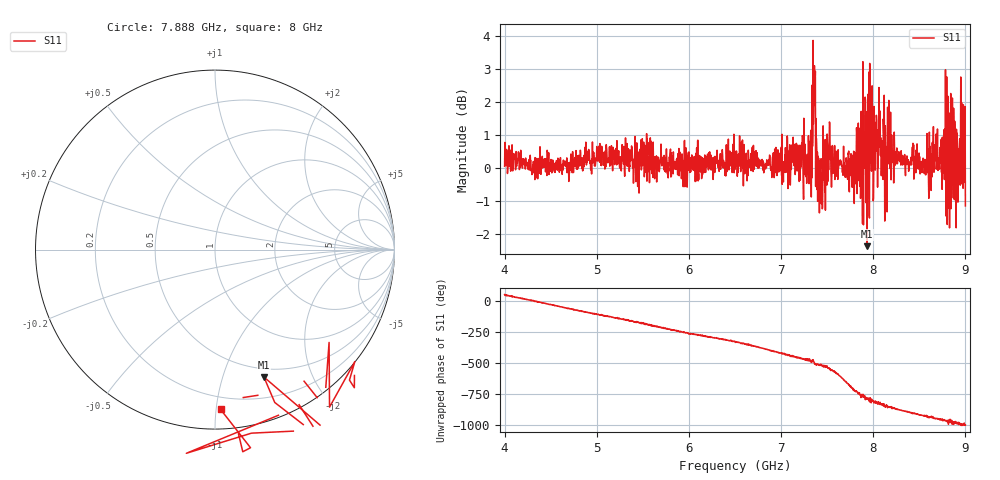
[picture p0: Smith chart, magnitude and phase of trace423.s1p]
! Created with skrf 1.8.0 (http://scikit-rf.org).
# Hz S RI R 50.0
!freq ReS11 ImS11
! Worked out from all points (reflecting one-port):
!   1601 points, 4 GHz to 9 GHz, reference 50 ohm
!   lowest |S11| = -2.4 dB at 7.934 GHz (marker M1), VSWR 7.35, Z = 20.4 - j68.7 ohm
!   phase of S11 starts at 54 deg and turns -1052 deg over the sweep
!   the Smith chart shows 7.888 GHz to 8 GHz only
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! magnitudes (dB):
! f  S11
! 4 GHz  0.0
! 4.625 GHz  -0.2
! 5.25 GHz  0.0
! 5.875 GHz  0.1
! 6.5 GHz  0.3
! 7.125 GHz  0.5
! 7.303 GHz  -0.5
! 7.362 GHz  3.1
! 7.4 GHz  0.4
! 7.428 GHz  0.2
! 7.509 GHz  -0.2
! 7.75 GHz  0.1
! 7.934 GHz  -2.4
! 7.956 GHz  -1.5
! 7.962 GHz  3.2
! 7.981 GHz  -0.1
! 7.988 GHz  2.5
! 8.05 GHz  0.8
! 8.125 GHz  -1.6
! 8.178 GHz  1.4
! 8.216 GHz  0.5
! 8.375 GHz  0.2
! 8.612 GHz  -0.3
! 8.834 GHz  1.0
! 8.919 GHz  -1.0
! 8.956 GHz  -0.1
! 8.972 GHz  1.0
! 9 GHz  -1.2
